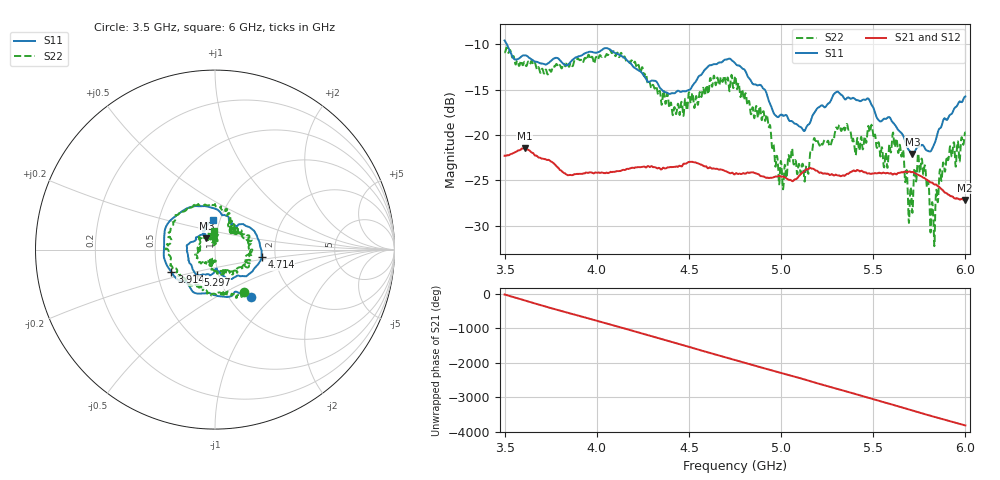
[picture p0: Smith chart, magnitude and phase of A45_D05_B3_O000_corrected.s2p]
! Created with skrf 1.9.0 (http://scikit-rf.org).
# Hz S RI R 50.0
!freq ReS11 ImS11 ReS21 ImS21 ReS12 ImS12 ReS22 ImS22
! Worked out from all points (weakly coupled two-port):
!   1601 points, 3.5 GHz to 6 GHz, reference 50 ohm
!   highest |S21| = -21.47 dB at 3.609 GHz (marker M1); lowest = -27.1 dB at 5.997 GHz (marker M2)
!   lowest |S11| = -22.1 dB at 5.713 GHz (marker M3), VSWR 1.17, Z = 45.1 + j5.63 ohm
!   |S11| at or under -10 dB: 3.512 GHz to end of sweep
!   |S22| runs from -32.3 to -10.4 dB; largest |S21 - S12| = 0.0012
!   S11 on the Smith chart (normalised r, x): 3.5 GHz: 1.26, -0.75; 3.914 GHz: 0.59, -0.16; 4.714 GHz: 1.69, -0.14; 5.297 GHz: 0.79, -0.23; 6 GHz: 0.93, +0.31
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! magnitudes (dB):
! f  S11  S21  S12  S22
! 3.5 GHz  -9.6  -22.3  -22.3  -10.9
! 3.609 GHz  -11.2  -21.5  -21.5  -11.9
! 3.914 GHz  -11.3  -24.3  -24.2  -11.7
! 3.917 GHz  -11.2  -24.3  -24.2  -11.7
! 4.139 GHz  -11.4  -23.9  -23.8  -11.3
! 4.334 GHz  -14.5  -23.6  -23.6  -15.5
! 4.422 GHz  -15.4  -23.5  -23.5  -16.9
! 4.714 GHz  -11.6  -24.1  -24.1  -14.1
! 4.75 GHz  -12.1  -24.3  -24.2  -13.5
! 4.93 GHz  -16.0  -24.7  -24.6  -18.7
! 5 GHz  -17.8  -24.6  -24.5  -22.9
! 5.167 GHz  -18.0  -23.7  -23.6  -21.9
! 5.297 GHz  -15.3  -24.4  -24.3  -19.3
! 5.584 GHz  -18.0  -24.2  -24.2  -21.6
! 5.617 GHz  -18.9  -24.3  -24.2  -21.3
! 5.702 GHz  -21.9  -24.1  -24.0  -26.0
! 5.713 GHz  -22.1  -24.1  -24.0  -28.6
! 5.772 GHz  -21.2  -24.7  -24.6  -24.4
! 5.822 GHz  -21.4  -25.3  -25.2  -27.6
! 5.87 GHz  -19.0  -26.0  -25.9  -25.1
! 5.997 GHz  -15.8  -27.1  -27.0  -19.8
! 6 GHz  -15.8  -27.1  -27.0  -19.7
